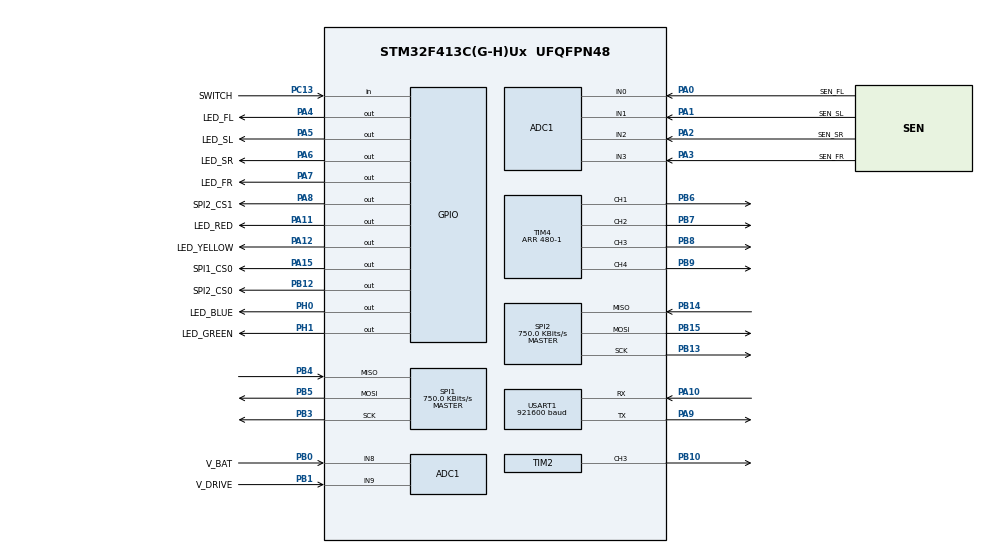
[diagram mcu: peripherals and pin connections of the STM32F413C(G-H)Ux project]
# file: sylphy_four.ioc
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ADC1.Channel-0\#ChannelRegularConversion=ADC_CHANNEL_8
ADC1.Channel-1\#ChannelRegularConversion=ADC_CHANNEL_9
ADC1.Channel-10\#ChannelRegularConversion=ADC_CHANNEL_8
ADC1.Channel-11\#ChannelRegularConversion=ADC_CHANNEL_9
ADC1.Channel-2\#ChannelRegularConversion=ADC_CHANNEL_3
ADC1.Channel-3\#ChannelRegularConversion=ADC_CHANNEL_3
ADC1.Channel-4\#ChannelRegularConversion=ADC_CHANNEL_0
ADC1.Channel-5\#ChannelRegularConversion=ADC_CHANNEL_0
ADC1.Channel-6\#ChannelRegularConversion=ADC_CHANNEL_2
ADC1.Channel-7\#ChannelRegularConversion=ADC_CHANNEL_2
ADC1.Channel-8\#ChannelRegularConversion=ADC_CHANNEL_1
ADC1.Channel-9\#ChannelRegularConversion=ADC_CHANNEL_1
ADC1.ClockPrescaler=ADC_CLOCK_SYNC_PCLK_DIV4
ADC1.DMAContinuousRequests=ENABLE
ADC1.DiscontinuousConvMode=ENABLE
ADC1.EOCSelection=ADC_EOC_SEQ_CONV
ADC1.ExternalTrigConv=ADC_EXTERNALTRIGCONV_T1_CC3
ADC1.NbrOfConversion=12
ADC1.NbrOfConversionFlag=1
ADC1.Rank-0\#ChannelRegularConversion=1
ADC1.Rank-1\#ChannelRegularConversion=2
ADC1.Rank-10\#ChannelRegularConversion=11
ADC1.Rank-11\#ChannelRegularConversion=12
ADC1.Rank-2\#ChannelRegularConversion=3
ADC1.Rank-3\#ChannelRegularConversion=4
ADC1.Rank-4\#ChannelRegularConversion=5
ADC1.Rank-5\#ChannelRegularConversion=6
ADC1.Rank-6\#ChannelRegularConversion=7
ADC1.Rank-7\#ChannelRegularConversion=8
ADC1.Rank-8\#ChannelRegularConversion=9
ADC1.Rank-9\#ChannelRegularConversion=10
ADC1.SamplingTime-0\#ChannelRegularConversion=ADC_SAMPLETIME_56CYCLES
ADC1.SamplingTime-1\#ChannelRegularConversion=ADC_SAMPLETIME_56CYCLES
ADC1.SamplingTime-10\#ChannelRegularConversion=ADC_SAMPLETIME_56CYCLES
ADC1.SamplingTime-11\#ChannelRegularConversion=ADC_SAMPLETIME_56CYCLES
ADC1.SamplingTime-2\#ChannelRegularConversion=ADC_SAMPLETIME_56CYCLES
ADC1.SamplingTime-3\#ChannelRegularConversion=ADC_SAMPLETIME_56CYCLES
ADC1.SamplingTime-4\#ChannelRegularConversion=ADC_SAMPLETIME_56CYCLES
ADC1.SamplingTime-5\#ChannelRegularConversion=ADC_SAMPLETIME_56CYCLES
ADC1.SamplingTime-6\#ChannelRegularConversion=ADC_SAMPLETIME_56CYCLES
ADC1.SamplingTime-7\#ChannelRegularConversion=ADC_SAMPLETIME_56CYCLES
ADC1.SamplingTime-8\#ChannelRegularConversion=ADC_SAMPLETIME_56CYCLES
ADC1.SamplingTime-9\#ChannelRegularConversion=ADC_SAMPLETIME_56CYCLES
ADC1.ScanConvMode=ENABLE
ADC1.master=1
Dma.ADC1.0.Direction=DMA_PERIPH_TO_MEMORY
Dma.ADC1.0.FIFOMode=DMA_FIFOMODE_DISABLE
Dma.ADC1.0.Instance=DMA2_Stream4
Dma.ADC1.0.MemDataAlignment=DMA_MDATAALIGN_HALFWORD
Dma.ADC1.0.MemInc=DMA_MINC_ENABLE
Dma.ADC1.0.Mode=DMA_CIRCULAR
Dma.ADC1.0.PeriphDataAlignment=DMA_PDATAALIGN_HALFWORD
Dma.ADC1.0.PeriphInc=DMA_PINC_DISABLE
Dma.ADC1.0.Priority=DMA_PRIORITY_MEDIUM
Dma.Request0=ADC1
Dma.Request1=USART1_RX
Dma.Request2=USART1_TX
Dma.Request3=TIM1_CH1
Dma.Request4=TIM1_CH2
Dma.Request5=SPI1_RX
Dma.Request6=SPI1_TX
Dma.Request7=SPI2_RX
Dma.Request8=SPI2_TX
Dma.SPI1_RX.5.Direction=DMA_PERIPH_TO_MEMORY
Dma.SPI1_RX.5.FIFOMode=DMA_FIFOMODE_DISABLE
Dma.SPI1_RX.5.Instance=DMA2_Stream0
Dma.SPI1_RX.5.MemDataAlignment=DMA_MDATAALIGN_BYTE
Dma.SPI1_RX.5.MemInc=DMA_MINC_ENABLE
Dma.SPI1_RX.5.Mode=DMA_NORMAL
Dma.SPI1_RX.5.PeriphDataAlignment=DMA_PDATAALIGN_BYTE
Dma.SPI1_RX.5.PeriphInc=DMA_PINC_DISABLE
Dma.SPI1_RX.5.Priority=DMA_PRIORITY_VERY_HIGH
Dma.SPI1_TX.6.Direction=DMA_MEMORY_TO_PERIPH
Dma.SPI1_TX.6.FIFOMode=DMA_FIFOMODE_DISABLE
Dma.SPI1_TX.6.Instance=DMA2_Stream3
Dma.SPI1_TX.6.MemDataAlignment=DMA_MDATAALIGN_BYTE
Dma.SPI1_TX.6.MemInc=DMA_MINC_ENABLE
Dma.SPI1_TX.6.Mode=DMA_NORMAL
Dma.SPI1_TX.6.PeriphDataAlignment=DMA_PDATAALIGN_BYTE
Dma.SPI1_TX.6.PeriphInc=DMA_PINC_DISABLE
Dma.SPI1_TX.6.Priority=DMA_PRIORITY_VERY_HIGH
Dma.SPI2_RX.7.Direction=DMA_PERIPH_TO_MEMORY
Dma.SPI2_RX.7.FIFOMode=DMA_FIFOMODE_DISABLE
Dma.SPI2_RX.7.Instance=DMA1_Stream3
Dma.SPI2_RX.7.MemDataAlignment=DMA_MDATAALIGN_HALFWORD
Dma.SPI2_RX.7.MemInc=DMA_MINC_ENABLE
Dma.SPI2_RX.7.Mode=DMA_NORMAL
Dma.SPI2_RX.7.PeriphDataAlignment=DMA_PDATAALIGN_HALFWORD
Dma.SPI2_RX.7.PeriphInc=DMA_PINC_DISABLE
Dma.SPI2_RX.7.Priority=DMA_PRIORITY_VERY_HIGH
Dma.SPI2_TX.8.Direction=DMA_MEMORY_TO_PERIPH
Dma.SPI2_TX.8.FIFOMode=DMA_FIFOMODE_DISABLE
Dma.SPI2_TX.8.Instance=DMA1_Stream4
Dma.SPI2_TX.8.MemDataAlignment=DMA_MDATAALIGN_HALFWORD
Dma.SPI2_TX.8.MemInc=DMA_MINC_ENABLE
Dma.SPI2_TX.8.Mode=DMA_NORMAL
Dma.SPI2_TX.8.PeriphDataAlignment=DMA_PDATAALIGN_HALFWORD
Dma.SPI2_TX.8.PeriphInc=DMA_PINC_DISABLE
Dma.SPI2_TX.8.Priority=DMA_PRIORITY_VERY_HIGH
Dma.TIM1_CH1.3.Direction=DMA_MEMORY_TO_PERIPH
Dma.TIM1_CH1.3.FIFOMode=DMA_FIFOMODE_DISABLE
Dma.TIM1_CH1.3.Instance=DMA2_Stream1
Dma.TIM1_CH1.3.MemDataAlignment=DMA_MDATAALIGN_WORD
Dma.TIM1_CH1.3.MemInc=DMA_MINC_ENABLE
Dma.TIM1_CH1.3.Mode=DMA_CIRCULAR
Dma.TIM1_CH1.3.PeriphDataAlignment=DMA_PDATAALIGN_WORD
Dma.TIM1_CH1.3.PeriphInc=DMA_PINC_DISABLE
Dma.TIM1_CH1.3.Priority=DMA_PRIORITY_VERY_HIGH
Dma.TIM1_CH2.4.Direction=DMA_MEMORY_TO_PERIPH
Dma.TIM1_CH2.4.FIFOMode=DMA_FIFOMODE_DISABLE
Dma.TIM1_CH2.4.Instance=DMA2_Stream2
Dma.TIM1_CH2.4.MemDataAlignment=DMA_MDATAALIGN_WORD
Dma.TIM1_CH2.4.MemInc=DMA_MINC_ENABLE
Dma.TIM1_CH2.4.Mode=DMA_CIRCULAR
Dma.TIM1_CH2.4.PeriphDataAlignment=DMA_PDATAALIGN_WORD
Dma.TIM1_CH2.4.PeriphInc=DMA_PINC_DISABLE
Dma.TIM1_CH2.4.Priority=DMA_PRIORITY_VERY_HIGH
Dma.USART1_RX.1.Direction=DMA_PERIPH_TO_MEMORY
Dma.USART1_RX.1.FIFOMode=DMA_FIFOMODE_DISABLE
Dma.USART1_RX.1.Instance=DMA2_Stream5
Dma.USART1_RX.1.MemDataAlignment=DMA_MDATAALIGN_BYTE
Dma.USART1_RX.1.MemInc=DMA_MINC_ENABLE
Dma.USART1_RX.1.Mode=DMA_CIRCULAR
Dma.USART1_RX.1.PeriphDataAlignment=DMA_PDATAALIGN_BYTE
Dma.USART1_RX.1.PeriphInc=DMA_PINC_DISABLE
Dma.USART1_RX.1.Priority=DMA_PRIORITY_LOW
Dma.USART1_TX.2.Direction=DMA_MEMORY_TO_PERIPH
Dma.USART1_TX.2.FIFOMode=DMA_FIFOMODE_DISABLE
Dma.USART1_TX.2.Instance=DMA2_Stream7
Dma.USART1_TX.2.MemDataAlignment=DMA_MDATAALIGN_BYTE
Dma.USART1_TX.2.MemInc=DMA_MINC_ENABLE
Dma.USART1_TX.2.Mode=DMA_NORMAL
Dma.USART1_TX.2.PeriphDataAlignment=DMA_PDATAALIGN_BYTE
Dma.USART1_TX.2.PeriphInc=DMA_PINC_DISABLE
Dma.USART1_TX.2.Priority=DMA_PRIORITY_LOW
Mcu.Family=STM32F4
Mcu.Name=STM32F413C(G-H)Ux
Mcu.Package=UFQFPN48
NVIC.DMA1_Stream3_IRQn=true\:0\:0\:false\:false\:true\:false\:true
NVIC.DMA1_Stream4_IRQn=true\:0\:0\:false\:false\:true\:false\:true
NVIC.DMA2_Stream0_IRQn=true\:0\:0\:false\:false\:true\:false\:true
NVIC.DMA2_Stream1_IRQn=true\:0\:0\:false\:false\:true\:false\:true
NVIC.DMA2_Stream2_IRQn=true\:0\:0\:false\:false\:true\:false\:true
NVIC.DMA2_Stream3_IRQn=true\:0\:0\:false\:false\:true\:false\:true
NVIC.DMA2_Stream4_IRQn=true\:0\:0\:false\:false\:true\:false\:true
NVIC.DMA2_Stream5_IRQn=true\:2\:0\:true\:false\:true\:false\:true
NVIC.DMA2_Stream7_IRQn=true\:2\:0\:true\:false\:true\:false\:true
NVIC.PriorityGroup=NVIC_PRIORITYGROUP_4
NVIC.TIM5_IRQn=true\:0\:0\:false\:false\:true\:true\:true
PA0.GPIO_Label=SEN_FL
PA0.Signal=ADCx_IN0
PA1.GPIO_Label=SEN_SL
PA1.Signal=ADCx_IN1
PA10.Mode=Asynchronous
PA10.Signal=USART1_RX
PA11.GPIO_Label=LED_RED
PA11.Signal=GPIO_Output
PA12.GPIO_Label=LED_YELLOW
PA12.Signal=GPIO_Output
PA13.Mode=Serial_Wire
PA13.Signal=SYS_JTMS-SWDIO
PA14.Mode=Serial_Wire
PA14.Signal=SYS_JTCK-SWCLK
PA15.GPIO_Label=SPI1_CS0
PA15.GPIO_PuPd=GPIO_PULLUP
PA15.GPIO_Speed=GPIO_SPEED_FREQ_VERY_HIGH
PA15.Signal=GPIO_Output
PA2.GPIO_Label=SEN_SR
PA2.Signal=ADCx_IN2
PA3.GPIO_Label=SEN_FR
PA3.Signal=ADCx_IN3
PA4.GPIO_Label=LED_FL
PA4.GPIO_Speed=GPIO_SPEED_FREQ_VERY_HIGH
PA4.Signal=GPIO_Output
PA5.GPIO_Label=LED_SL
PA5.GPIO_Speed=GPIO_SPEED_FREQ_VERY_HIGH
PA5.Signal=GPIO_Output
PA6.GPIO_Label=LED_SR
PA6.GPIO_Speed=GPIO_SPEED_FREQ_VERY_HIGH
PA6.Signal=GPIO_Output
PA7.GPIO_Label=LED_FR
PA7.GPIO_Speed=GPIO_SPEED_FREQ_VERY_HIGH
PA7.Signal=GPIO_Output
PA8.GPIO_Label=SPI2_CS1
PA8.GPIO_PuPd=GPIO_PULLUP
PA8.GPIO_Speed=GPIO_SPEED_FREQ_VERY_HIGH
PA8.Signal=GPIO_Output
PA9.Mode=Asynchronous
PA9.Signal=USART1_TX
PB0.GPIO_Label=V_BAT
PB0.Signal=ADCx_IN8
PB1.GPIO_Label=V_DRIVE
PB1.Signal=ADCx_IN9
PB10.Signal=S_TIM2_CH3
PB12.GPIO_Label=SPI2_CS0
PB12.GPIO_PuPd=GPIO_PULLUP
PB12.GPIO_Speed=GPIO_SPEED_FREQ_VERY_HIGH
PB12.Signal=GPIO_Output
PB13.Mode=Full_Duplex_Master
PB13.Signal=SPI2_SCK
PB14.Mode=Full_Duplex_Master
PB14.Signal=SPI2_MISO
PB15.Mode=Full_Duplex_Master
PB15.Signal=SPI2_MOSI
PB3.Mode=Full_Duplex_Master
PB3.Signal=SPI1_SCK
PB4.Mode=Full_Duplex_Master
PB4.Signal=SPI1_MISO
PB5.Mode=Full_Duplex_Master
PB5.Signal=SPI1_MOSI
PB6.Signal=S_TIM4_CH1
PB7.Signal=S_TIM4_CH2
PB8.Signal=S_TIM4_CH3
PB9.Signal=S_TIM4_CH4
PC13.GPIO_Label=SWITCH
PC13.Signal=GPIO_Input
PH0\ -\ OSC_IN.GPIO_Label=LED_BLUE
PH0\ -\ OSC_IN.Signal=GPIO_Output
PH1\ -\ OSC_OUT.GPIO_Label=LED_GREEN
PH1\ -\ OSC_OUT.Signal=GPIO_Output
ProjectManager.HeapSize=0x200
ProjectManager.StackSize=0x400
ProjectManager.TargetToolchain=STM32CubeIDE
RCC.AHBFreq_Value=48000000
RCC.APB1Freq_Value=48000000
RCC.APB1TimFreq_Value=48000000
RCC.APB2Freq_Value=48000000
RCC.APB2TimFreq_Value=48000000
RCC.CortexFreq_Value=48000000
RCC.HCLKFreq_Value=48000000
RCC.PLLM=8
RCC.PLLP=RCC_PLLP_DIV8
RCC.SYSCLKFreq_VALUE=48000000
RCC.SYSCLKSource=RCC_SYSCLKSOURCE_PLLCLK
RCC.USBFreq_Value=192000000
RCC.VCOOutputFreq_Value=384000000
SH.ADCx_IN0.0=ADC1_IN0,IN0
SH.ADCx_IN1.0=ADC1_IN1,IN1
SH.ADCx_IN2.0=ADC1_IN2,IN2
SH.ADCx_IN3.0=ADC1_IN3,IN3
SH.ADCx_IN8.0=ADC1_IN8,IN8
SH.ADCx_IN9.0=ADC1_IN9,IN9
SH.S_TIM2_CH3.0=TIM2_CH3,PWM Generation3 CH3
SH.S_TIM4_CH1.0=TIM4_CH1,PWM Generation1 CH1
SH.S_TIM4_CH2.0=TIM4_CH2,PWM Generation2 CH2
SH.S_TIM4_CH3.0=TIM4_CH3,PWM Generation3 CH3
SH.S_TIM4_CH4.0=TIM4_CH4,PWM Generation4 CH4
SPI1.BaudRatePrescaler=SPI_BAUDRATEPRESCALER_64
SPI1.CLKPhase=SPI_PHASE_2EDGE
SPI1.CLKPolarity=SPI_POLARITY_HIGH
SPI1.CalculateBaudRate=750.0 KBits/s
SPI1.Direction=SPI_DIRECTION_2LINES
SPI1.Mode=SPI_MODE_MASTER
SPI1.VirtualType=VM_MASTER
SPI2.BaudRatePrescaler=SPI_BAUDRATEPRESCALER_64
SPI2.CLKPhase=SPI_PHASE_2EDGE
SPI2.CalculateBaudRate=750.0 KBits/s
SPI2.DataSize=SPI_DATASIZE_16BIT
SPI2.Direction=SPI_DIRECTION_2LINES
SPI2.Mode=SPI_MODE_MASTER
SPI2.VirtualType=VM_MASTER
TIM1.Channel-PWM\ Generation1\ No\ Output=TIM_CHANNEL_1
TIM1.Channel-PWM\ Generation2\ No\ Output=TIM_CHANNEL_2
TIM1.Channel-PWM\ Generation3\ No\ Output=TIM_CHANNEL_3
TIM1.OCMode_PWM-PWM\ Generation1\ No\ Output=TIM_OCMODE_PWM2
TIM1.OCMode_PWM-PWM\ Generation2\ No\ Output=TIM_OCMODE_PWM2
TIM1.OCMode_PWM-PWM\ Generation3\ No\ Output=TIM_OCMODE_PWM2
TIM1.Period=4000-1
TIM1.Pulse-PWM\ Generation1\ No\ Output=2-1
TIM1.Pulse-PWM\ Generation2\ No\ Output=1202-1
TIM1.Pulse-PWM\ Generation3\ No\ Output=962-1
TIM2.Channel-PWM\ Generation3\ CH3=TIM_CHANNEL_3
TIM2.OCMode_PWM-PWM\ Generation3\ CH3=TIM_OCMODE_PWM2
TIM2.Period=480-1
TIM4.Channel-PWM\ Generation1\ CH1=TIM_CHANNEL_1
TIM4.Channel-PWM\ Generation2\ CH2=TIM_CHANNEL_2
TIM4.Channel-PWM\ Generation3\ CH3=TIM_CHANNEL_3
TIM4.Channel-PWM\ Generation4\ CH4=TIM_CHANNEL_4
TIM4.OCMode_PWM-PWM\ Generation1\ CH1=TIM_OCMODE_PWM2
TIM4.OCMode_PWM-PWM\ Generation2\ CH2=TIM_OCMODE_PWM2
TIM4.OCMode_PWM-PWM\ Generation3\ CH3=TIM_OCMODE_PWM2
TIM4.OCMode_PWM-PWM\ Generation4\ CH4=TIM_OCMODE_PWM2
TIM4.Period=480-1
TIM5.Period=24000-1
TIM5.Prescaler=2-1
USART1.BaudRate=921600
USART1.VirtualMode=VM_ASYNC
VP_TIM1_VS_ClockSourceINT.Mode=Internal
VP_TIM1_VS_no_output1.Mode=PWM Generation1 No Output
VP_TIM1_VS_no_output2.Mode=PWM Generation2 No Output
VP_TIM1_VS_no_output3.Mode=PWM Generation3 No Output
VP_TIM2_VS_ClockSourceINT.Mode=Internal
VP_TIM4_VS_ClockSourceINT.Mode=Internal
VP_TIM5_VS_ClockSourceINT.Mode=Internal
board=custom

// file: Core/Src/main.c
/* USER CODE BEGIN Header */
/**
  ******************************************************************************
  * @file           : main.c
  * @brief          : Main program body
  ******************************************************************************
  * @attention
  *
  * <h2><center>&copy; Copyright (c) 2021 STMicroelectronics.
  * All rights reserved.</center></h2>
  *
  * This software component is licensed by ST under BSD 3-Clause license,
  * the "License"; You may not use this file except in compliance with the
  * License. You may obtain a copy of the License at:
  *                        opensource.org/licenses/BSD-3-Clause
  *
  ******************************************************************************
  */
/* USER CODE END Header */
#include "main.h"
#include "adc.h"
#include "dma.h"
#include "spi.h"
#include "tim.h"
#include "usart.h"
#include "gpio.h"

/* USER CODE BEGIN Includes */
#include "defines.h"
#include "global.h"
/* USER CODE END Includes */

void SystemClock_Config(void);
/* USER CODE BEGIN PFP */
extern void 	Communicate_Initialize( void );
extern void 	Motor_Initialize( void );
extern void 	Encoder_Initialize( void );
extern void 	Sensor_Initialize( void );
extern void		IMU_Initialize( void );
extern void 	Interrupt_Initialize( void );
extern void 	Myshell_Initialize( void );
extern void 	Wall_Initialize( void );
extern void 	Mode_SelectRunMode( void );
/* USER CODE END PFP */

int main(void)
{

  /* MCU Configuration--------------------------------------------------------*/

  /* Reset of all peripherals, Initializes the Flash interface and the Systick. */

  LL_APB2_GRP1_EnableClock(LL_APB2_GRP1_PERIPH_SYSCFG);
  LL_APB1_GRP1_EnableClock(LL_APB1_GRP1_PERIPH_PWR);

  NVIC_SetPriorityGrouping(NVIC_PRIORITYGROUP_4);

  /* System interrupt init*/

  /* Configure the system clock */
  SystemClock_Config();

  /* Initialize all configured peripherals */
  MX_GPIO_Init();
  MX_DMA_Init();
  MX_ADC1_Init();
  MX_USART1_UART_Init();
  MX_SPI1_Init();
  MX_SPI2_Init();
  MX_TIM1_Init();
  MX_TIM2_Init();
  MX_TIM4_Init();
  MX_TIM5_Init();
  /* USER CODE BEGIN 2 */
  	Communicate_Initialize();
  	Interrupt_Initialize();
  	Motor_Initialize();
  	Encoder_Initialize();
  	IMU_Initialize();
 	Sensor_Initialize();
 	Wall_Initialize();
 	Myshell_Initialize();

	Battery_LimiterVoltage();
  	LED_LightBinary( 0x01 ); 	LL_mDelay( 100 );
	LED_LightBinary( 0x02 );  	LL_mDelay( 100 );
	LED_LightBinary( 0x04 );  	LL_mDelay( 100 );
	LED_LightBinary( 0x08 );  	LL_mDelay( 100 );
	LED_LightBinary( 0x02 );  	LL_mDelay( 100 );
	LED_LightBinary( 0x01 );  	LL_mDelay( 100 );
	LED_LightBinary( 0x02 );	LL_mDelay( 100 );
	LED_LightBinary( 0x04 );	LL_mDelay( 100 );
	LED_LightBinary( 0x08 );  	LL_mDelay( 100 );
	LED_LightBinary( 0x02 );	LL_mDelay( 100 );
	LED_LightBinary( 0x01 );	LL_mDelay( 100 );
	LED_LightBinary( 0x00 );
  	printf("Hello World!\r\n");
  /* USER CODE END 2 */

  /* Infinite loop */
  /* USER CODE BEGIN WHILE */
// 	Motor_SetDuty_Left(100);
// 	Motor_SetDuty_Right(100);
  while (1)
  {
    /* USER CODE END WHILE */

    /* USER CODE BEGIN 3 */
	  Myshell_Execute();

  }
  /* USER CODE END 3 */
}

void SystemClock_Config(void)
{
  LL_FLASH_SetLatency(LL_FLASH_LATENCY_1);
  while(LL_FLASH_GetLatency()!= LL_FLASH_LATENCY_1)
  {
  }
  LL_PWR_SetRegulVoltageScaling(LL_PWR_REGU_VOLTAGE_SCALE1);
  LL_RCC_HSI_SetCalibTrimming(16);
  LL_RCC_HSI_Enable();

   /* Wait till HSI is ready */
  while(LL_RCC_HSI_IsReady() != 1)
  {

  }
  LL_RCC_PLL_ConfigDomain_SYS(LL_RCC_PLLSOURCE_HSI, LL_RCC_PLLM_DIV_8, 192, LL_RCC_PLLP_DIV_8);
  LL_RCC_PLL_Enable();

   /* Wait till PLL is ready */
  while(LL_RCC_PLL_IsReady() != 1)
  {

  }
  LL_RCC_SetAHBPrescaler(LL_RCC_SYSCLK_DIV_1);
  LL_RCC_SetAPB1Prescaler(LL_RCC_APB1_DIV_1);
  LL_RCC_SetAPB2Prescaler(LL_RCC_APB2_DIV_1);
  LL_RCC_SetSysClkSource(LL_RCC_SYS_CLKSOURCE_PLL);

   /* Wait till System clock is ready */
  while(LL_RCC_GetSysClkSource() != LL_RCC_SYS_CLKSOURCE_STATUS_PLL)
  {

  }
  LL_Init1msTick(48000000);
  LL_SetSystemCoreClock(48000000);
  LL_RCC_SetTIMPrescaler(LL_RCC_TIM_PRESCALER_TWICE);
}

void Error_Handler(void)
{
  __disable_irq();
  while (1)
  {
  }
}

/************************ (C) COPYRIGHT STMicroelectronics *****END OF FILE****/
